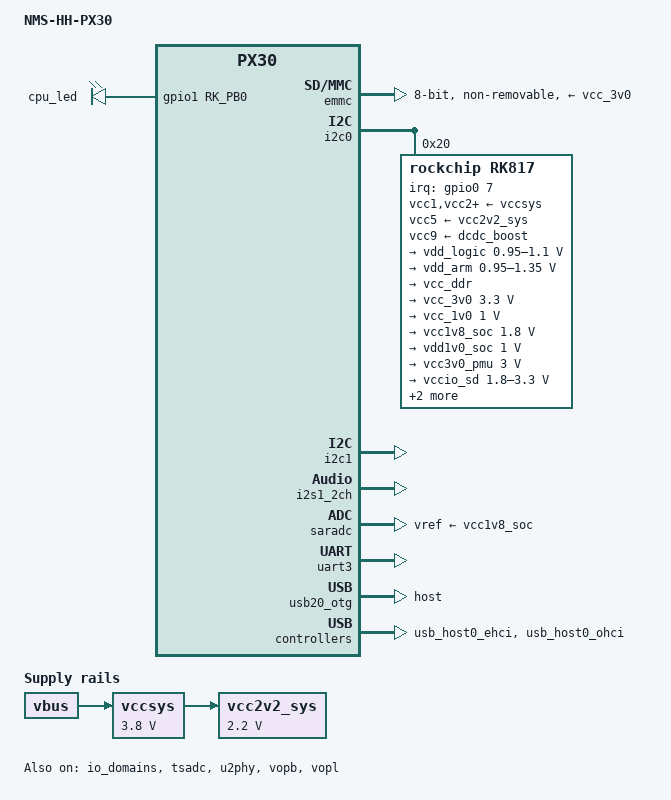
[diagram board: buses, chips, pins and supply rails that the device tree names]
/*
 * Copyright (c) 2024 InMys
 */
 
/*
 for som version 1 (SOM_PX30_V1.pdf)
*/

/dts-v1/;
#include <dt-bindings/gpio/gpio.h>
#include <dt-bindings/pinctrl/rockchip.h>
#include <dt-bindings/input/input.h>
#include "px30.dtsi"

/ {
	model = "NMS-HH-PX30";
	compatible = "inmys,px30-hh-som", "rockchip,px30";

	chosen {
		stdout-path = "serial3:115200n8";
	};
	aliases {
		ethernet0 = &gmac;

		mmc0 = &sdmmc; // sdcard
		mmc1 = &sdio;  // wifi
		mmc2 = &emmc;
	};

	
	reserved-memory {
                #address-cells = <2>;
                #size-cells = <2>;
                ranges;

                ramoops: ramoops@8000000 {
                        compatible = "ramoops";
                        reg = <0x0 0x8000000 0x0 0xa0000>;
                        record-size = <0x20000>;
                        console-size = <0x80000>;
                        ftrace-size = <0x00000>;
                        pmsg-size = <0x00000>;
                };
        };

	
	/* som pwr */
	vccsys: vccsys {
		compatible = "regulator-fixed";
		regulator-name = "vcc3v8_sys";
		regulator-always-on;
		regulator-boot-on;
		regulator-min-microvolt = <3800000>;
		regulator-max-microvolt = <3800000>;
		vin-supply = <&vbus>;
	};
	vcc2v2_sys: vcc2v2_sys {
		/* PAM2305CGFADJ */
		compatible = "regulator-fixed";
		regulator-name = "vcc2v2_sys";
		regulator-min-microvolt = <2200000>;
		regulator-max-microvolt = <2200000>;
		vin-supply = <&vccsys>;
	};
	

	charge-animation {
		compatible = "rockchip,uboot-charge";
		rockchip,uboot-charge-on = <0>;
		rockchip,android-charge-on = <1>;
		rockchip,uboot-low-power-voltage = <3500>;
		rockchip,screen-on-voltage = <3600>;
		status = "okay";
	};

	snd {
		compatible = "simple-audio-card";
		simple-audio-card,name = "px30-and-rk817-codec";

		simple-audio-card,widgets =
			"Speaker", "Internal Speakers";
		simple-audio-card,routing =
			"Internal Speakers", "SPKO";

		#address-cells = <1>;
		#size-cells = <0>;
		simple-audio-card,dai-link@0 {
			reg = <0>;
			format = "i2s";
			bitclock-master = <&link0_cpu>;
			frame-master = <&link0_cpu>;
			mclk-fs = <256>;
			link0_cpu: cpu {
				sound-dai = <&i2s1_2ch>;
			};
			link0_codec: codec {
				sound-dai = <&rk817>;
			};
		};
	};

	fiq-debugger {
		// ToDo: conflict with uart3
		status = "disabled";
	};
	
	leds{
		compatible = "gpio-leds";
		pinctrl-names = "default";
		pinctrl-0 = <&led_gpio>;
		cpu_led {
			label = "cpu_led";
			gpios = <&gpio1 RK_PB0 GPIO_ACTIVE_HIGH>;
			linux,default-trigger = "heartbeat";
		};
	};
};

#if 0
&bus_apll {
	bus-supply = <&vdd_logic>;
	status = "okay";
};
#endif

&cpu0 {
	cpu-supply = <&vdd_arm>;
};

&cpu1 {
        cpu-supply = <&vdd_arm>;
};

&cpu2 {
        cpu-supply = <&vdd_arm>;
};

&cpu3 {
        cpu-supply = <&vdd_arm>;
};

#if 0
&dfi {
	status = "okay";
};
#endif

#if 0
&dmc {
	center-supply = <&vdd_logic>;
	status = "okay";
};
#endif

&emmc {
	bus-width = <8>;
	cap-mmc-highspeed;
	mmc-hs200-1_8v;
	supports-emmc;
	disable-wp;
	non-removable;
	num-slots = <1>;
	status = "okay";


	vmmc-supply = <&vcc_3v0>;
	vqmmc-supply = <&vcc1v8_soc>;


	/*rockchip,default-sample-phase = <90>;*/
#if 1
	pinctrl-names = "default";
	pinctrl-0 = <&emmc_clk &emmc_cmd &emmc_rstnout &emmc_bus8>;
#endif
	/*hack, wrong work on 200MHZ*/
	max-frequency= <110000000>;
};

#if 0
&gpu {
	mali-supply = <&vdd_logic>;
	status = "okay";
	/*status = "disabled";*/
};
#endif

&i2c0 {
	status = "okay";
	rk817: pmic@20 {
		compatible = "rockchip,rk817";
		reg = <0x20>;
		interrupt-parent = <&gpio0>;
		interrupts = <7 IRQ_TYPE_LEVEL_LOW>;
#if 0
		pinctrl-names = "default", "pmic-sleep",
			"pmic-power-off", "pmic-reset";
		pinctrl-0 = <&pmic_int>, <&i2s1_2ch_mclk>;
		pinctrl-1 = <&soc_slppin_slp>, <&rk817_slppin_slp>;
		pinctrl-2 = <&soc_slppin_gpio>, <&rk817_slppin_pwrdn>;
		pinctrl-3 = <&soc_slppin_gpio>, <&rk817_slppin_rst>;
#else
		pinctrl-names = "default";
		pinctrl-0 = <&pmic_int>;
#endif
		rockchip,system-power-controller;
		wakeup-source;
		#clock-cells = <1>;
		clock-output-names = "rk808-clkout1", "rk808-clkout2";
		//fb-inner-reg-idxs = <2>; // buck3 use external feedback resistor
		/* 1: rst regs (default in codes), 0: rst the pmic */
		pmic-reset-func = <0>;
		
		vcc1-supply = <&vccsys>;
		vcc2-supply = <&vccsys>;
		vcc3-supply = <&vccsys>;
		vcc4-supply = <&vccsys>;
		vcc5-supply = <&vcc2v2_sys>;
		vcc6-supply = <&vccsys>;
		vcc7-supply = <&vccsys>;

#if 1
		vcc8-supply = <&vccsys>;
		vcc9-supply = <&dcdc_boost>;
#endif

		clocks = <&cru SCLK_I2S1_OUT>;
		clock-names = "mclk";
		#sound-dai-cells = <0>;

		pwrkey {
			status = "okay";
		};
		pinctrl_rk8xx: pinctrl_rk8xx {
			gpio-controller;
			#gpio-cells = <2>;
			
			rk817_slppin_null: rk817_slppin_null {
				pins = "gpio_slp";
				function = "pin_fun0";
			};
			rk817_slppin_slp: rk817_slppin_slp {
				pins = "gpio_slp";
				function = "pin_fun1";
			};
			rk817_slppin_pwrdn: rk817_slppin_pwrdn {
				pins = "gpio_slp";
				function = "pin_fun2";
			};
			rk817_slppin_rst: rk817_slppin_rst {
				pins = "gpio_slp";
				function = "pin_fun3";
			};
		};
		regulators {
			vdd_logic: DCDC_REG1 { //and gpu
				regulator-always-on;
				regulator-boot-on;
				regulator-min-microvolt =  <950000>;
				regulator-max-microvolt = <1100000>;
				/*regulator-init-microvolt =<1100000>;*/
				regulator-ramp-delay = <6001>;
				regulator-initial-mode = <0x2>;
				regulator-name = "vdd_logic";
				regulator-state-mem {
					regulator-off-in-suspend;
					regulator-suspend-microvolt = <950000>;
				};
			};
			vdd_arm: DCDC_REG2 {
				regulator-always-on;
				regulator-boot-on;
				regulator-min-microvolt =  <950000>;
				regulator-max-microvolt = <1350000>;
				/*regulator-init-microvolt =<1100000>;*/
				regulator-ramp-delay = <6001>;
				regulator-initial-mode = <0x2>;
				regulator-name = "vdd_arm";
				regulator-state-mem {
					regulator-off-in-suspend;
					regulator-suspend-microvolt = <950000>;
				};
			};
			vcc_ddr: DCDC_REG3 {
				regulator-always-on;
				regulator-boot-on;
				regulator-initial-mode = <0x2>;
				regulator-name = "vcc_ddr";
				regulator-state-mem {
					regulator-on-in-suspend;
				};
			};
			vcc_3v0: DCDC_REG4 {
				/* zgb, wifi*/
				regulator-always-on;
				regulator-boot-on;
				regulator-min-microvolt = <3300000>; // changed 3.0V->3.1V for wifi
				regulator-max-microvolt = <3300000>;
				regulator-initial-mode = <0x2>;
				regulator-name = "vcc_3v0";
				regulator-state-mem {
					regulator-off-in-suspend;
					regulator-suspend-microvolt = <3300000>;
				};
			};
			vcc_1v0: LDO_REG1 {
				regulator-always-on;
				regulator-boot-on;
				regulator-min-microvolt = <1000000>;
				regulator-max-microvolt = <1000000>;
				regulator-name = "vcc_1v0";
				regulator-state-mem {
					regulator-on-in-suspend;
					regulator-suspend-microvolt = <1000000>;
				};
			};
			vcc1v8_soc: LDO_REG2 {
				regulator-always-on;
				regulator-boot-on;
				regulator-min-microvolt = <1800000>;
				regulator-max-microvolt = <1800000>;

				regulator-name = "vcc1v8_soc";
				regulator-state-mem {
					regulator-on-in-suspend;
					regulator-suspend-microvolt = <1800000>;
				};
			};

			vdd1v0_soc: LDO_REG3 {
				regulator-always-on;
				regulator-boot-on;
				regulator-min-microvolt = <1000000>;
				regulator-max-microvolt = <1000000>;

				regulator-name = "vcc1v0_soc";
				regulator-state-mem {
					regulator-on-in-suspend;
					regulator-suspend-microvolt = <1000000>;
				};
			};

			vcc3v0_pmu: LDO_REG4 {
				regulator-always-on;
				regulator-boot-on;
				regulator-min-microvolt = <3000000>;
				regulator-max-microvolt = <3000000>;

				regulator-name = "vcc3v0_pmu";
				regulator-state-mem {
					regulator-on-in-suspend;
					regulator-suspend-microvolt = <3000000>;

				};
			};

			vccio_sd: LDO_REG5 {
				regulator-always-on;
				regulator-boot-on;
				regulator-min-microvolt = <1800000>;
				regulator-max-microvolt = <3300000>;

				regulator-name = "vccio_sd";
				regulator-state-mem {
					regulator-on-in-suspend;
					regulator-suspend-microvolt = <3300000>;
				};
			};

			vcc_sd: LDO_REG6 {
				regulator-min-microvolt = <3100000>;
				regulator-max-microvolt = <3100000>;
				regulator-boot-on;
				regulator-always-on;

				regulator-name = "vcc_sd";
				regulator-state-mem {
					regulator-on-in-suspend;
					regulator-suspend-microvolt = <3100000>;

				};
			};
			/*vcc3v3_lcd*/
			vcc2v8_dvp: LDO_REG7 {
				regulator-always-on;
				regulator-min-microvolt = <2800000>;
				regulator-max-microvolt = <2800000>;

				regulator-name = "vcc2v8_dvp";
				regulator-state-mem {
					regulator-off-in-suspend;
					regulator-suspend-microvolt = <2800000>;
				};
			};

			vccio_sdio: LDO_REG8 {
				regulator-always-on;
				regulator-min-microvolt = <1800000>;
				regulator-max-microvolt = <1800000>;

				regulator-name = "vccio_sdio";
				regulator-state-mem {
					regulator-on-in-suspend;
					regulator-suspend-microvolt = <1800000>;
				};
			};

			vdd1v5_dvp: LDO_REG9 {
				regulator-always-on;
				regulator-min-microvolt = <3000000>;
				regulator-max-microvolt = <3000000>;

				regulator-name = "vdd1v5_dvp";
				regulator-state-mem {
					regulator-off-in-suspend;
					regulator-suspend-microvolt = <3000000>;
				};
			};
#if 1
			dcdc_boost: BOOST {
				regulator-always-on;
				regulator-boot-on;
				regulator-min-microvolt = <4700000>;
				regulator-max-microvolt = <5400000>;
				regulator-name = "boost";
				regulator-state-mem {
					regulator-off-in-suspend;
				};
			};
			otg_switch: OTG_SWITCH {
				regulator-name = "otg_switch";
				regulator-state-mem {
					regulator-off-in-suspend;
				};
			};
#endif
		};
		charger {
			compatible = "rk817,charger";
			min_input_voltage = <4500>;
			max_input_current = <1500>;
			max_chrg_current = <2000>;
			max_chrg_voltage = <4300>;
			chrg_term_mode = <0>;
			chrg_finish_cur = <300>;
			virtual_power = <0>;
			dc_det_adc = <0>;
			/*extcon = <&u2phy>;*/

			rockchip,resistor-sense-micro-ohms = <10000>;
			rockchip,sleep-enter-current-microamp = <300000>;
			rockchip,sleep-filter-current-microamp = <100000>;
			monitored-battery = <&bat>;
			bat: battery {
				/* Nominal Voltage: 3.7V */
				compatible = "simple-battery";
				voltage-min-design-microvolt = <3350000>;
				voltage-max-design-microvolt = <4200000>;

				charge-full-design-microamp-hours =  <4500000>;
				energy-full-design-microwatt-hours = <16650000>;

				constant-charge-current-max-microamp = <900000>;
				constant-charge-voltage-max-microvolt = <4200000>;
				charge-term-current-microamp = <128000>;
			};
		};
		rk817_codec: codec {
			#sound-dai-cells = <0>;
			mic-in-differential;
			//clocks = <&cru SCLK_I2S1_OUT>;
			//clock-names = "mclk";
		};
	};
};

&i2c1 {
	status = "okay";
};


&i2s1_2ch {
	status = "okay";
	#sound-dai-cells = <0>;
};

&io_domains {
	status = "okay";

	vccio1-supply = <&vccio_sdio>;	// wifi io pins
	vccio2-supply = <&vcc_3v0>;	// externeal sd card io pins
	vccio3-supply = <&vcc_3v0>;	// gpio pins
	vccio4-supply = <&vcc_3v0>;	// MIPI dsi io pind -> LDO2
	vccio5-supply = <&vcc_3v0>;	// i2s io pins 
	vccio6-supply = <&vcc1v8_soc>;	// internal sd card io pins (emmc on cpu)
};


&pmu_io_domains {
	status = "okay";

	pmuio1-supply = <&vcc3v0_pmu>;
	pmuio2-supply = <&vcc3v0_pmu>;
};

#if 0
&rk_rga {
	status = "okay";
};
#endif

#if 0
&rockchip_suspend {
	status = "okay";
	rockchip,sleep-debug-en = <1>;
};
#endif

&saradc {
	status = "okay";
	vref-supply = <&vcc1v8_soc>;
};

#if 0
&tsadc {
	pinctrl-names = "gpio", "otpout";
	pinctrl-0 = <&tsadc_otp_gpio>;
	pinctrl-1 = <&tsadc_otp_out>;
	status = "okay";
};
#else
&tsadc {
	rockchip,hw-tshut-mode = <1>;
	rockchip,hw-tshut-polarity = <1>;
	status = "okay";
};
#endif


&uart2 {
	/* RS232 */
	pinctrl-names = "default";
	pinctrl-0 = <&uart2m1_xfer>;
	status = "disabled";
};

&uart3{
	/*tmp console*/
        pinctrl-names = "default";
        pinctrl-0 = <&uart3m1_xfer>;
        status = "okay";
};

&uart5 {
	/*zigbee*/
	status = "disabled";
	pinctrl-names = "default";
	pinctrl-0 = <&uart5_xfer>;
};


#define USB_CONNECTOR_IS_HOST 1
&u2phy {
	status = "okay";
#if USB_CONNECTOR_IS_HOST
	u2phy_host: host-port {
		status = "okay";
	};
#else
	u2phy_otg: otg-port {
		status = "okay";
	};
#endif
};

&usb20_otg {
	status = "okay";
#if USB_CONNECTOR_IS_HOST
	dr_mode = "host";
#endif
};

#if 1
&usb_host0_ehci {
	status = "okay";
};

&usb_host0_ohci {
	status = "okay";
};
#endif

&vopb {
	status = "okay";
};

&vopb_mmu {
	status = "okay";
};

&vopl {
	status = "okay";
};

&vopl_mmu {
	status = "okay";
};

#if 0
&mpp_srv {
	status = "okay";
};

&vdpu {
	status = "okay";
};

&vepu {
	status = "okay";
};

&vpu_mmu {
	status = "okay";
};

&hevc {
	status = "okay";
};

&hevc_mmu {
	status = "okay";
};
#endif


&pinctrl {
	pmic {
		pmic_int: pmic_int {
			rockchip,pins =
				<0 RK_PA7 RK_FUNC_GPIO &pcfg_pull_up>;
		};

		soc_slppin_gpio: soc_slppin_gpio {
			rockchip,pins =
				<0 RK_PA4 RK_FUNC_GPIO &pcfg_output_low>;
		};

		soc_slppin_slp: soc_slppin_slp {
			rockchip,pins =
				<0 RK_PA4 1 &pcfg_pull_none>;
		};

		soc_slppin_rst: soc_slppin_rst {
			rockchip,pins =
				<0 RK_PA4 2 &pcfg_pull_none>;
		};
	};

	led{
		led_gpio: led_gpio{
			rockchip,pins =
				<1 RK_PB0 RK_FUNC_GPIO &pcfg_pull_none>;
		};
	};
};

/* DON'T PUT ANYTHING BELOW HERE.  PUT IT ABOVE PINCTRL */
/* DON'T PUT ANYTHING BELOW HERE.  PUT IT ABOVE PINCTRL */
/* DON'T PUT ANYTHING BELOW HERE.  PUT IT ABOVE PINCTRL */
